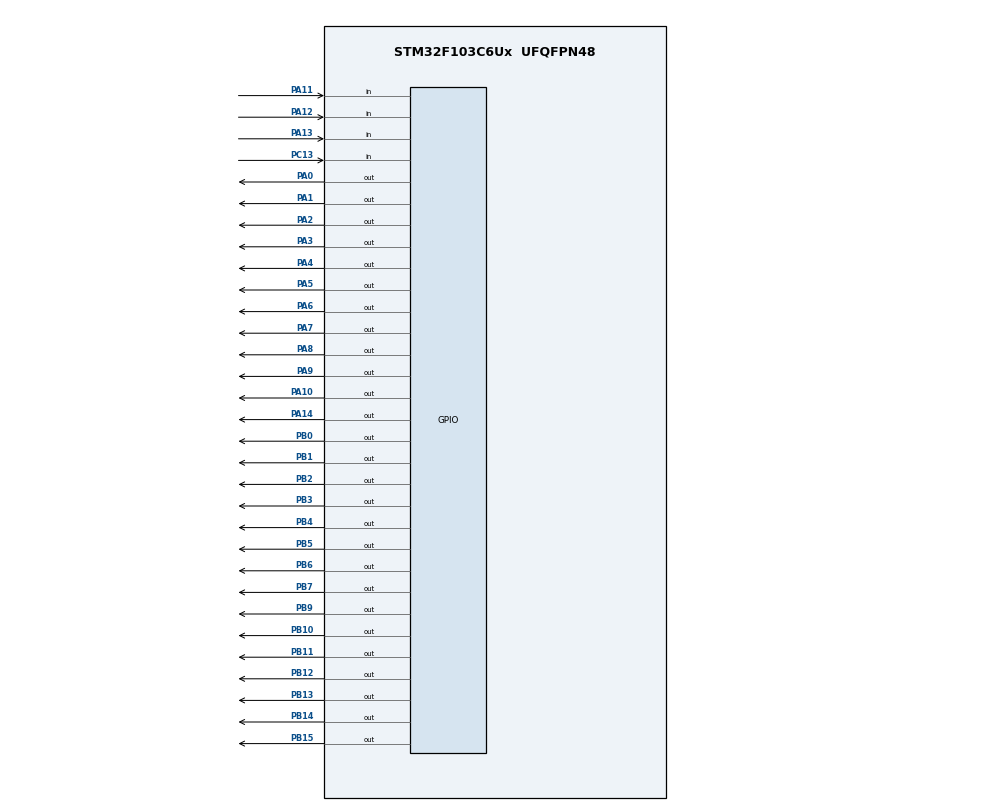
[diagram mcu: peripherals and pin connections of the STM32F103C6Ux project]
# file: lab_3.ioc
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Mcu.Family=STM32F1
Mcu.Name=STM32F103C6Ux
Mcu.Package=UFQFPN48
NVIC.PriorityGroup=NVIC_PRIORITYGROUP_4
NVIC.TIM2_IRQn=true\:0\:0\:false\:false\:true\:true\:true
PA0-WKUP.Signal=GPIO_Output
PA1.Signal=GPIO_Output
PA10.Signal=GPIO_Output
PA11.GPIO_PuPd=GPIO_PULLUP
PA11.Signal=GPIO_Input
PA12.GPIO_PuPd=GPIO_PULLUP
PA12.Signal=GPIO_Input
PA13.GPIO_PuPd=GPIO_PULLUP
PA13.Signal=GPIO_Input
PA14.Signal=GPIO_Output
PA2.Signal=GPIO_Output
PA3.Signal=GPIO_Output
PA4.Signal=GPIO_Output
PA5.Signal=GPIO_Output
PA6.Signal=GPIO_Output
PA7.Signal=GPIO_Output
PA8.Signal=GPIO_Output
PA9.Signal=GPIO_Output
PB0.Signal=GPIO_Output
PB1.Signal=GPIO_Output
PB10.Signal=GPIO_Output
PB11.Signal=GPIO_Output
PB12.Signal=GPIO_Output
PB13.Signal=GPIO_Output
PB14.Signal=GPIO_Output
PB15.Signal=GPIO_Output
PB2.Signal=GPIO_Output
PB3.Signal=GPIO_Output
PB4.Signal=GPIO_Output
PB5.Signal=GPIO_Output
PB6.Signal=GPIO_Output
PB7.Signal=GPIO_Output
PB9.Signal=GPIO_Output
PC13-TAMPER-RTC.GPIO_PuPd=GPIO_PULLUP
PC13-TAMPER-RTC.Signal=GPIO_Input
ProjectManager.HeapSize=0x200
ProjectManager.StackSize=0x400
ProjectManager.TargetToolchain=STM32CubeIDE
RCC.APB1Freq_Value=8000000
RCC.APB2Freq_Value=8000000
TIM2.Period=9
TIM2.Prescaler=7999
VP_SYS_VS_ND.Mode=No_Debug
VP_TIM2_VS_ClockSourceINT.Mode=Internal
board=custom

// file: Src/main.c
/* USER CODE BEGIN Header */
/**
  ******************************************************************************
  * @file           : main.c
  * @brief          : Main program body
  ******************************************************************************
  * @attention
  *
  * <h2><center>&copy; Copyright (c) 2024 STMicroelectronics.
  * All rights reserved.</center></h2>
  *
  * This software component is licensed by ST under BSD 3-Clause license,
  * the "License"; You may not use this file except in compliance with the
  * License. You may obtain a copy of the License at:
  *                        opensource.org/licenses/BSD-3-Clause
  *
  ******************************************************************************
  */
/* USER CODE END Header */
#include "main.h"

/* USER CODE BEGIN Includes */
//#include "button.h"
//#include "timer.h"
//#include "fsm_automatic.h"
//#include "fsm_manual.h"

#include "input_reading.h"
//#include "input_proccessing.h"
#include "led_function.h"
#include "timer_0.h"

/* USER CODE END Includes */

TIM_HandleTypeDef htim2;

void SystemClock_Config(void);
static void MX_GPIO_Init(void);
static void MX_TIM2_Init(void);

int main(void)
{

  /* MCU Configuration--------------------------------------------------------*/

  /* Reset of all peripherals, Initializes the Flash interface and the Systick. */
  HAL_Init();

  /* Configure the system clock */
  SystemClock_Config();

  /* Initialize all configured peripherals */
  MX_GPIO_Init();
  MX_TIM2_Init();
  /* USER CODE BEGIN 2 */
  HAL_TIM_Base_Start_IT(&htim2);
  /* USER CODE END 2 */

  /* Infinite loop */
  /* USER CODE BEGIN WHILE */

//
  setTimer0(1000);
  enum Mode first_button = mode_4;

  int red = 5;
  int yellow = 2;
  int green = 3;

  BUTTON_ONE = 0;
  BUTTON_TWO = 0;
  BUTTON_THREE = 0;

  while (1)
  {
	  //if(timer0_flag == 1){
		  fsm_for_input_processing1(&first_button, &red, &yellow, &green, &BUTTON_ONE, &BUTTON_TWO, &BUTTON_THREE);
		  fsm_for_input_processing0(&first_button, &BUTTON_ONE);
		  //timer0_flag = 1;

		    switch (first_button) {
		            case mode_1:
		                traffic_light(red, yellow, green, &first_button, &BUTTON_ONE);
		                break;
		            case mode_2:
		                red_time(&first_button, chuc, don_vi);
		                break;
		            case mode_3:
		                yellow_time(&first_button, chuc, don_vi);
		                break;
		            case mode_4:
		                green_time(&first_button, chuc, don_vi);
		                break;
		            default:
		                // Handle unexpected mode if necessary
		                break;
		        }

	  //}

    /* USER CODE END WHILE */

  }
}

void SystemClock_Config(void)
{
  RCC_OscInitTypeDef RCC_OscInitStruct = {0};
  RCC_ClkInitTypeDef RCC_ClkInitStruct = {0};

  /** Initializes the RCC Oscillators according to the specified parameters
  * in the RCC_OscInitTypeDef structure.
  */
  RCC_OscInitStruct.OscillatorType = RCC_OSCILLATORTYPE_HSI;
  RCC_OscInitStruct.HSIState = RCC_HSI_ON;
  RCC_OscInitStruct.HSICalibrationValue = RCC_HSICALIBRATION_DEFAULT;
  RCC_OscInitStruct.PLL.PLLState = RCC_PLL_NONE;
  if (HAL_RCC_OscConfig(&RCC_OscInitStruct) != HAL_OK)
  {
    Error_Handler();
  }
  /** Initializes the CPU, AHB and APB buses clocks
  */
  RCC_ClkInitStruct.ClockType = RCC_CLOCKTYPE_HCLK|RCC_CLOCKTYPE_SYSCLK
                              |RCC_CLOCKTYPE_PCLK1|RCC_CLOCKTYPE_PCLK2;
  RCC_ClkInitStruct.SYSCLKSource = RCC_SYSCLKSOURCE_HSI;
  RCC_ClkInitStruct.AHBCLKDivider = RCC_SYSCLK_DIV1;
  RCC_ClkInitStruct.APB1CLKDivider = RCC_HCLK_DIV1;
  RCC_ClkInitStruct.APB2CLKDivider = RCC_HCLK_DIV1;

  if (HAL_RCC_ClockConfig(&RCC_ClkInitStruct, FLASH_LATENCY_0) != HAL_OK)
  {
    Error_Handler();
  }
}

static void MX_TIM2_Init(void)
{

  TIM_ClockConfigTypeDef sClockSourceConfig = {0};
  TIM_MasterConfigTypeDef sMasterConfig = {0};

  htim2.Instance = TIM2;
  htim2.Init.Prescaler = 7999;
  htim2.Init.CounterMode = TIM_COUNTERMODE_UP;
  htim2.Init.Period = 9;
  htim2.Init.ClockDivision = TIM_CLOCKDIVISION_DIV1;
  htim2.Init.AutoReloadPreload = TIM_AUTORELOAD_PRELOAD_DISABLE;
  if (HAL_TIM_Base_Init(&htim2) != HAL_OK)
  {
    Error_Handler();
  }
  sClockSourceConfig.ClockSource = TIM_CLOCKSOURCE_INTERNAL;
  if (HAL_TIM_ConfigClockSource(&htim2, &sClockSourceConfig) != HAL_OK)
  {
    Error_Handler();
  }
  sMasterConfig.MasterOutputTrigger = TIM_TRGO_RESET;
  sMasterConfig.MasterSlaveMode = TIM_MASTERSLAVEMODE_DISABLE;
  if (HAL_TIMEx_MasterConfigSynchronization(&htim2, &sMasterConfig) != HAL_OK)
  {
    Error_Handler();
  }

}

static void MX_GPIO_Init(void)
{
  GPIO_InitTypeDef GPIO_InitStruct = {0};

  /* GPIO Ports Clock Enable */
  __HAL_RCC_GPIOC_CLK_ENABLE();
  __HAL_RCC_GPIOA_CLK_ENABLE();
  __HAL_RCC_GPIOB_CLK_ENABLE();

  /*Configure GPIO pin Output Level */
  HAL_GPIO_WritePin(GPIOA, GPIO_PIN_0|GPIO_PIN_1|GPIO_PIN_2|GPIO_PIN_3
                          |GPIO_PIN_4|GPIO_PIN_5|GPIO_PIN_6|GPIO_PIN_7
                          |GPIO_PIN_8|GPIO_PIN_9|GPIO_PIN_10|GPIO_PIN_14, GPIO_PIN_RESET);

  /*Configure GPIO pin Output Level */
  HAL_GPIO_WritePin(GPIOB, GPIO_PIN_0|GPIO_PIN_1|GPIO_PIN_2|GPIO_PIN_10
                          |GPIO_PIN_11|GPIO_PIN_12|GPIO_PIN_13|GPIO_PIN_14
                          |GPIO_PIN_15|GPIO_PIN_3|GPIO_PIN_4|GPIO_PIN_5
                          |GPIO_PIN_6|GPIO_PIN_7|GPIO_PIN_9, GPIO_PIN_RESET);

  /*Configure GPIO pin : PC13 */
  GPIO_InitStruct.Pin = GPIO_PIN_13;
  GPIO_InitStruct.Mode = GPIO_MODE_INPUT;
  GPIO_InitStruct.Pull = GPIO_PULLUP;
  HAL_GPIO_Init(GPIOC, &GPIO_InitStruct);

  /*Configure GPIO pins : PA0 PA1 PA2 PA3
                           PA4 PA5 PA6 PA7
                           PA8 PA9 PA10 PA14 */
  GPIO_InitStruct.Pin = GPIO_PIN_0|GPIO_PIN_1|GPIO_PIN_2|GPIO_PIN_3
                          |GPIO_PIN_4|GPIO_PIN_5|GPIO_PIN_6|GPIO_PIN_7
                          |GPIO_PIN_8|GPIO_PIN_9|GPIO_PIN_10|GPIO_PIN_14;
  GPIO_InitStruct.Mode = GPIO_MODE_OUTPUT_PP;
  GPIO_InitStruct.Pull = GPIO_NOPULL;
  GPIO_InitStruct.Speed = GPIO_SPEED_FREQ_LOW;
  HAL_GPIO_Init(GPIOA, &GPIO_InitStruct);

  /*Configure GPIO pins : PB0 PB1 PB2 PB10
                           PB11 PB12 PB13 PB14
                           PB15 PB3 PB4 PB5
                           PB6 PB7 PB9 */
  GPIO_InitStruct.Pin = GPIO_PIN_0|GPIO_PIN_1|GPIO_PIN_2|GPIO_PIN_10
                          |GPIO_PIN_11|GPIO_PIN_12|GPIO_PIN_13|GPIO_PIN_14
                          |GPIO_PIN_15|GPIO_PIN_3|GPIO_PIN_4|GPIO_PIN_5
                          |GPIO_PIN_6|GPIO_PIN_7|GPIO_PIN_9;
  GPIO_InitStruct.Mode = GPIO_MODE_OUTPUT_PP;
  GPIO_InitStruct.Pull = GPIO_NOPULL;
  GPIO_InitStruct.Speed = GPIO_SPEED_FREQ_LOW;
  HAL_GPIO_Init(GPIOB, &GPIO_InitStruct);

  /*Configure GPIO pins : PA11 PA12 PA13 */
  GPIO_InitStruct.Pin = GPIO_PIN_11|GPIO_PIN_12|GPIO_PIN_13;
  GPIO_InitStruct.Mode = GPIO_MODE_INPUT;
  GPIO_InitStruct.Pull = GPIO_PULLUP;
  HAL_GPIO_Init(GPIOA, &GPIO_InitStruct);

}

/* USER CODE BEGIN 4 */

void HAL_TIM_PeriodElapsedCallback(TIM_HandleTypeDef *htim)
{
	timer_run();
	 if(htim->Instance == TIM2){
	 button_reading();
	 }
}
/* USER CODE END 4 */

void Error_Handler(void)
{
  __disable_irq();
  while (1)
  {
  }
}

/************************ (C) COPYRIGHT STMicroelectronics *****END OF FILE****/
